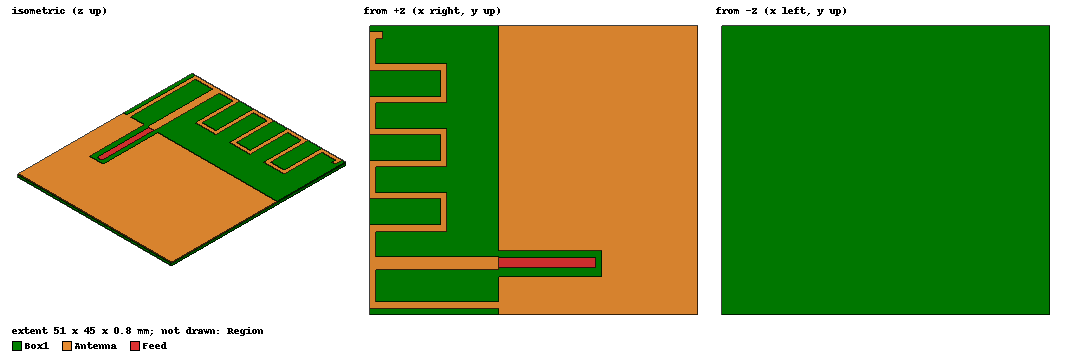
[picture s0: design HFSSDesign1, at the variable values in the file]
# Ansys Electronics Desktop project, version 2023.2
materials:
  vacuum: permittivity=1
  FR4_epoxy: permittivity=4.4 dielectric_loss_tangent=0.02

design HFSSDesign1 (HFSS, HFSS Terminal Network, model units mm)
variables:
  L1 = 20mm
  W2 = 2mm
  W = 1mm
  L2 = -5mm
  L3 = 4mm
  l4 = 10mm
  l5 = 6mm
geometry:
  Rectangle1 = rectangle(corner=(0mm, 0mm, 0mm), x_size=L1, y_size=W2)
  Antenna = rectangle(corner=(1mm, 0mm, 0mm), x_size=-1mm, y_size=-5mm)
  Rectangle3 = rectangle(corner=(0mm, -6mm, 0mm), x_size=L1, y_size=1mm)
  Rectangle4 = rectangle(corner=(0mm, 2mm, 0mm), x_size=1mm, y_size=L3)
  Rectangle5 = rectangle(corner=(0mm, 6mm, 0mm), x_size=11mm, y_size=1mm)
  Rectangle6 = rectangle(corner=(11mm, 6mm, 0mm), x_size=1mm, y_size=l5)
  Rectangle7 = rectangle(corner=(11mm, 12mm, 0mm), x_size=-l4, y_size=-1mm)
  Rectangle4.unite(Rectangle5, Rectangle6, Rectangle7)
  Rectangle8 = rectangle(corner=(0mm, 2mm, 0mm), x_size=1mm, y_size=L3)
  Rectangle9 = rectangle(corner=(0mm, 6mm, 0mm), x_size=11mm, y_size=1mm)
  Rectangle10 = rectangle(corner=(11mm, 6mm, 0mm), x_size=1mm, y_size=l5)
  Rectangle11 = rectangle(corner=(11mm, 12mm, 0mm), x_size=-l4, y_size=-1mm)
  Rectangle8.unite(Rectangle9, Rectangle10, Rectangle11)
  Rectangle8.move(0mm, 9mm, 0mm)
  Rectangle12 = rectangle(corner=(0mm, 2mm, 0mm), x_size=1mm, y_size=L3)
  Rectangle13 = rectangle(corner=(0mm, 6mm, 0mm), x_size=11mm, y_size=1mm)
  Rectangle14 = rectangle(corner=(11mm, 6mm, 0mm), x_size=1mm, y_size=l5)
  Rectangle15 = rectangle(corner=(11mm, 12mm, 0mm), x_size=-l4, y_size=-1mm)
  Rectangle12.unite(Rectangle13, Rectangle14, Rectangle15)
  Rectangle12.move(0mm, 9mm, 0mm)
  Rectangle12.move(0mm, 9mm, 0mm)
  Rectangle16 = rectangle(corner=(0mm, 29mm, 0mm), x_size=1mm, y_size=6mm)
  Rectangle17 = rectangle(corner=(1mm, 34mm, 0mm), x_size=1mm, y_size=1mm)
  Rectangle17.move(0mm, 1mm, 0mm)
  Rectangle16.move(0mm, 1mm, 0mm)
  Rectangle12.move(0mm, 1mm, 0mm)
  [Rectangle8, Rectangle12].move(0mm, 1mm, 0mm)
  [Rectangle16, Rectangle17].move(0mm, 2mm, 0mm)
  [Rectangle16, Rectangle17].move(0mm, -1mm, 0mm)
  Rectangle18 = rectangle(corner=(1mm, 12mm, 0mm), x_size=-1mm, y_size=-1mm)
  Rectangle19 = rectangle(corner=(1mm, 22mm, 0mm), x_size=-1mm, y_size=-1mm)
  Rectangle12.unite(Rectangle19)
  Rectangle8.unite(Rectangle18)
  Rectangle17.unite(Rectangle16)
  Feed = rectangle(corner=(20mm, 0mm, 0mm), x_size=15.193297mm, y_size=1.47927mm)
  Feed.move(0mm, 0.36981749mm, 0mm)
  Antenna.unite(Rectangle3, Rectangle4, Rectangle8, Rectangle12, Rectangle17, Rectangle1)
  gnd = rectangle(corner=(20mm, -7mm, 0mm), x_size=31mm, y_size=6mm)
  Rectangle21 = rectangle(corner=(20mm, 3mm, 0mm), x_size=31mm, y_size=35mm)
  Rectangle22 = rectangle(corner=(36mm, -1mm, 0mm), x_size=15mm, y_size=4mm)
  gnd.unite(Rectangle21, Rectangle22)
  Box1 [FR4_epoxy] = box(corner=(51mm, -7mm, 0mm), size=(-51mm, 45mm, -0.8mm))
  Region [vacuum] = region(absolute_offset=15mm on all sides)
  Antenna.unite(gnd)
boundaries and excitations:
  PerfE1: Perfect E Objects=Antenna
  Rad1: Radiation Objects=Region
  1: Lumped Port Objects=Feed LumpedPortType=Modal Modes{Mode1{IntLine{(27.596649, 1.1094525, 0) -> (20, 1.1094525, 0)} CharImp=Zpi}} Impedance=50ohm
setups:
  Setup1: HfssDriven Frequency=860MHz MaxDeltaS=0.02 MaximumPasses=6 MinimumPasses=1 MinimumConvergedPasses=1 PercentRefinement=30 BasisOrder=1 PortAccuracy=2 DrivenSolverType="Direct Solver"
    sweep Sweep: 430MHz to 2000MHz, 120 points; Type=Interpolating SaveFields InterpTolerance=0.5 InterpMaxSolns=250 PassivityErrorTolerance=0.0001
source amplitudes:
  1:1: 1V 0deg
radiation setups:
  Infinite Sphere1: Infinite Sphere Theta=0deg..360deg step 2deg Phi=-180deg..180deg step 2deg
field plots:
  Mag_Jsurf1: Jsurf over Antenna.face(at (25.5, 15.5, 0)) Feed.face(at (27.5966, 1.10945, 0)) on Setup1 : LastAdaptive at Freq=0.86GHz Phase=0deg
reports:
  Terminal S Parameter Plot 1: dB(St(1,1)) vs Freq on Setup1 : Sweep; markers m1 at 1.1688235GHz
  Terminal S Parameter Chart 1: St(1,1) on Setup1 : Sweep [Freq=all]
  Gain Plot 1: dB(GainTotal) vs Theta on Setup1 : LastAdaptive, Infinite Sphere1 [Phi=all Freq=0.86GHz]
  Gain Plot 2: GainTotal vs Phi, Theta on Setup1 : LastAdaptive, Infinite Sphere1 [Freq=0.86GHz]

design Circuit1 (Circuit)
options: SParamCircuitDef IntegrationMethod=FFT
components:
  S3 = HFSSDesign2()
  U5 = Circuit2()
  port Port1 rz=50ohm iz=0ohm EnableNoise=false noisetemp=16.85cel
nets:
  net_1: U5.1, S3.1
  Port1: U5.0
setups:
  LinearFrequency: LinearFrequencyData(false, 0.1, false, "", false) SweepDefinition{Variable=Freq Data="LINC 0.4GHz 2.4GHz 400"}
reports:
  S Parameter Plot 1: dB(S(Port1,Port1)) vs Freq on LinearFrequency : LinearFrequency; markers m1 at 0.87619048GHz, m2 at 0.85112782GHz, m3 at 0.90125313GHz
  S Parameter Chart 1: S(Port1,Port1) on LinearFrequency : LinearFrequency [Freq=all]

design Circuit2 (Circuit)
options: SParamCircuitDef IntegrationMethod=FFT
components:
  C6 = CAP_(C=995.14fF)
  L7 = IND_(L=17.17nH)
  port Port1 rz=50ohm iz=0ohm EnableNoise=false noisetemp=16.85cel
  port Port2 rz=50ohm iz=0ohm EnableNoise=false noisetemp=16.85cel
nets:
  0: L7.1
  Port1: C6.0
  Port2: L7.0, C6.1
